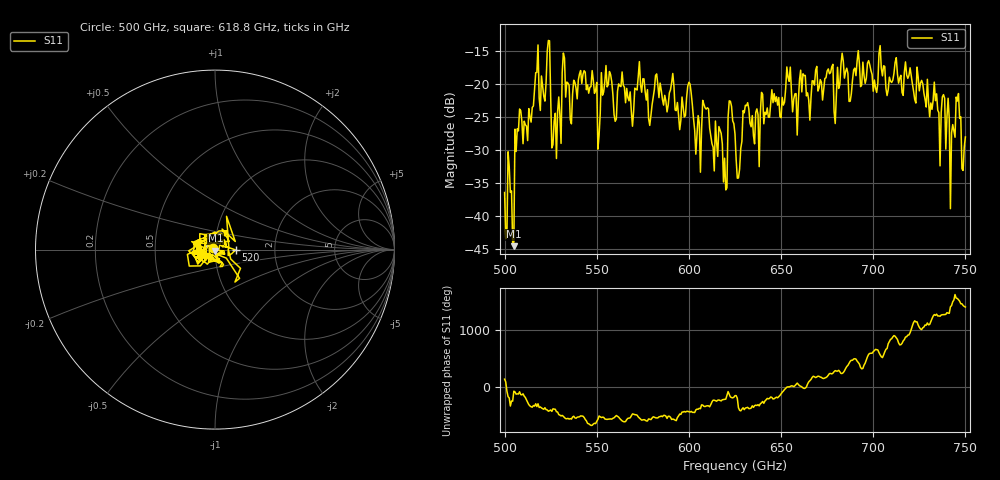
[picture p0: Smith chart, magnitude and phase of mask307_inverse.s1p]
!Created with skrf (http://scikit-rf.org).
# GHz S MA R 50.0
!freq magS11 angS11
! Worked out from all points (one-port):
!   401 points, 500 GHz to 750 GHz, reference 50 ohm
!   lowest |S11| = -44.6 dB at 505 GHz (marker M1), VSWR 1.01, Z = 50.2 - j0.556 ohm
!   |S11| at or under -10 dB: start of sweep to end of sweep
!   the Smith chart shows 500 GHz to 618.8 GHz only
!   S11 on the Smith chart (normalised r, x): 500 GHz: 0.98, +0.02; 520 GHz: 1.26, -0.00; 618.8 GHz: 0.97, +0.02
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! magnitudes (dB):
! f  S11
! 500 GHz  -36.5
! 505 GHz  -44.6
! 508.1 GHz  -23.8
! 520 GHz  -18.8
! 523.8 GHz  -13.5
! 526.9 GHz  -25.7
! 531.2 GHz  -18.3
! 542.5 GHz  -18.6
! 550.6 GHz  -29.9
! 562.5 GHz  -20.4
! 579.4 GHz  -24.8
! 590.6 GHz  -19.8
! 593.8 GHz  -22.9
! 600 GHz  -19.8
! 605 GHz  -24.8
! 608.8 GHz  -23.7
! 618.8 GHz  -34.9
! 622.5 GHz  -22.7
! 625 GHz  -27.6
! 627.5 GHz  -32.9
! 630.6 GHz  -23.3
! 636.9 GHz  -23.8
! 656.2 GHz  -24.3
! 687.5 GHz  -22.7
! 718.8 GHz  -19.2
! 743.1 GHz  -26.2
! 746.2 GHz  -21.5
! 750 GHz  -28.1
